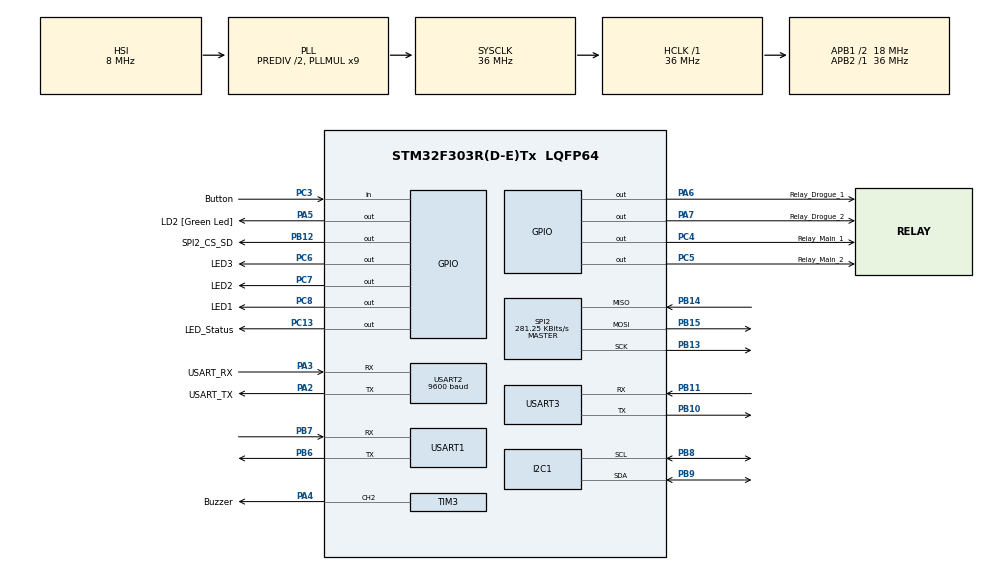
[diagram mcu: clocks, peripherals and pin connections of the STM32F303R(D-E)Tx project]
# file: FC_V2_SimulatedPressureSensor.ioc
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Mcu.Family=STM32F3
PA2.GPIO_PuPd=GPIO_NOPULL
RCC.CortexFreq_Value=36000000
SPI2.VirtualType=VM_MASTER
PB10.Mode=Asynchronous
RCC.SYSCLKSourceVirtual=RCC_SYSCLKSOURCE_PLLCLK
PA3.GPIO_PuPd=GPIO_NOPULL
PA2.GPIO_Speed=GPIO_SPEED_FREQ_LOW
PC6.GPIO_Label=LED3
VP_RTC_VS_RTC_Activate.Mode=RTC_Enabled
PA6.GPIO_Label=Relay_Drogue_1
PC13.GPIO_Label=LED_Status
PA3.GPIO_Speed=GPIO_SPEED_FREQ_LOW
PB11.Signal=USART3_RX
PB13.Signal=SPI2_SCK
PB15.Signal=SPI2_MOSI
ProjectManager.StackSize=0x400
USART3.VirtualMode-Asynchronous=VM_ASYNC
RCC.HCLKFreq_Value=36000000
RCC.APB2TimFreq_Value=36000000
TIM3.Period=163
PB6.Signal=USART1_TX
PC7.Signal=GPIO_Output
PB6.Mode=Asynchronous
PC3.Signal=GPIO_Input
RCC.AHBFreq_Value=36000000
SPI2.BaudRatePrescaler=SPI_BAUDRATEPRESCALER_64
RCC.HSE_VALUE=16000000
PB3.Mode=Trace_Asynchronous_SW
USART2.VirtualMode-Asynchronous=VM_ASYNC
RCC.RCC_PLLsource_Clock_Source_FROM_HSE=RCC_HSE_PREDIV_DIV2
RCC.PLLMUL=RCC_PLL_MUL9
PB12.GPIO_Label=SPI2_CS_SD
PC14-OSC32_IN.Mode=LSE-External-Oscillator
PC4.GPIO_Label=Relay_Main_1
PA14.Mode=Trace_Asynchronous_SW
PB14.Mode=Full_Duplex_Master
TIM3.Prescaler=999
PA5.GPIO_PuPd=GPIO_NOPULL
NVIC.TIM2_IRQn=true\:0\:0\:false\:false\:true\:true\:true
SPI2.CalculateBaudRate=281.25 KBits/s
PB7.Signal=USART1_RX
Mcu.Package=LQFP64
PB9.Signal=I2C1_SDA
TIM2.Prescaler=7199
PA6.Signal=GPIO_Output
SPI2.Mode=SPI_MODE_MASTER
PA2.GPIO_Label=USART_TX
RCC.APB1TimFreq_Value=36000000
TIM3.Pulse-PWM\ Generation2\ CH2=82
SPI2.Direction=SPI_DIRECTION_2LINES
PC5.Signal=GPIO_Output
PB13.Mode=Full_Duplex_Master
PA4.GPIO_Label=Buzzer
VP_TIM3_VS_ClockSourceINT.Mode=Internal
PA3.Signal=USART2_RX
PA2.GPIO_Mode=GPIO_MODE_AF_PP
PC15-OSC32_OUT.Mode=LSE-External-Oscillator
PC13.Signal=GPIO_Output
PC8.Signal=GPIO_Output
PC4.Signal=GPIO_Output
PC6.Signal=GPIO_Output
RCC.APB1CLKDivider=RCC_HCLK_DIV2
PC14-OSC32_IN.Signal=RCC_OSC32_IN
USART2.BaudRate=9600
PC8.GPIO_Label=LED1
USART1.VirtualMode-Asynchronous=VM_ASYNC
PA3.Mode=Asynchronous
PA13.Signal=SYS_JTMS-SWDIO
PB11.Mode=Asynchronous
ProjectManager.TargetToolchain=STM32CubeIDE
PA3.GPIO_Mode=GPIO_MODE_AF_PP
PB9.Mode=I2C
RCC.PLLDivider=RCC_PREDIV_DIV2
RCC.USBFreq_Value=24000000
PC15-OSC32_OUT.Signal=RCC_OSC32_OUT
PF0-OSC_IN.Mode=HSE-External-Clock-Source
VP_FATFS_VS_Generic.Mode=User_defined
PB10.Signal=USART3_TX
PB14.Signal=SPI2_MISO
PA5.Signal=GPIO_Output
SH.S_TIM3_CH2.0=TIM3_CH2,PWM Generation2 CH2
board=NUCLEO-F303RE
PB15.Mode=Full_Duplex_Master
RCC.APB2Freq_Value=36000000
RCC.PRESCALERUSB=RCC_USBCLKSOURCE_PLL_DIV1_5
VP_TIM2_VS_ClockSourceINT.Mode=Internal
TIM2.Period=999
PA13.Mode=Trace_Asynchronous_SW
Mcu.Name=STM32F303R(D-E)Tx
PA2.Signal=USART2_TX
PC7.GPIO_Label=LED2
PB3.Signal=SYS_JTDO-TRACESWO
PA4.Signal=S_TIM3_CH2
RCC.SYSCLKFreq_VALUE=36000000
PA7.GPIO_Label=Relay_Drogue_2
PA5.GPIO_Label=LD2 [Green Led]
PC5.GPIO_Label=Relay_Main_2
PB7.Mode=Asynchronous
PA14.Signal=SYS_JTCK-SWCLK
ProjectManager.HeapSize=0x600
RCC.HSI_VALUE=8000000
RCC.PLLP=RCC_PLLP_DIV4
PA5.GPIO_Speed=GPIO_SPEED_FREQ_LOW
RCC.PLLQ=7
NVIC.PriorityGroup=NVIC_PRIORITYGROUP_0
TIM3.Channel-PWM\ Generation2\ CH2=TIM_CHANNEL_2
RCC.PLLM=8
PB8.Mode=I2C
RCC.PLLN=336
PA2.Mode=Asynchronous
PB8.Signal=I2C1_SCL
PC3.GPIO_Label=Button
SPI2.DataSize=SPI_DATASIZE_8BIT
PF0-OSC_IN.Signal=RCC_OSC_IN
RCC.APB1Freq_Value=18000000
PA5.GPIO_Mode=GPIO_MODE_OUTPUT_PP
PB12.Signal=GPIO_Output
PA3.GPIO_Label=USART_RX
PA7.Signal=GPIO_Output

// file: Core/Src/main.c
/* USER CODE BEGIN Header */
/**
  ******************************************************************************
  * @file           : main.c
  * @brief          : Main program body
  ******************************************************************************
  * @attention
  *
  * <h2><center>&copy; Copyright (c) 2021 STMicroelectronics.
  * All rights reserved.</center></h2>
  *
  * This software component is licensed by ST under BSD 3-Clause license,
  * the "License"; You may not use this file except in compliance with the
  * License. You may obtain a copy of the License at:
  *                        opensource.org/licenses/BSD-3-Clause
  *
  ******************************************************************************
  */
/* USER CODE END Header */
#include "main.h"
#include "fatfs.h"

/* USER CODE BEGIN Includes */
#include <stdio.h>
#include <string.h>
#include "lsm6dsr_reg.h"
#include "lps22hh_reg.h"
#include "ejection.h"
#include "gps.h"
/* USER CODE END Includes */

/* USER CODE BEGIN PD */

// ---------- COMMENT THESE OUT AS NEEDED ---------- //
#define		DEBUG_MODE
//#define		CONFIG_TIME
//#define		TRANSMIT_RADIO
#define 	SIM_PRESSURE_SENSOR
// ------------------------------------------------- //

/* USER CODE END PD */

I2C_HandleTypeDef hi2c1;

RTC_HandleTypeDef hrtc;

SPI_HandleTypeDef hspi2;

TIM_HandleTypeDef htim2;
TIM_HandleTypeDef htim3;

UART_HandleTypeDef huart1;
UART_HandleTypeDef huart2;
UART_HandleTypeDef huart3;

/* USER CODE BEGIN PV */

// Transmission buffer
static uint8_t tx_buffer[TX_BUF_DIM];
#ifdef DEBUG_MODE
static uint8_t msg[1000];
#endif

// Ejection Variables
float alt_meas;
float alt_ground = 0;
float t_previous_loop, t_previous_buzz;
float average_gradient;

uint8_t apogee_reached = 0;
uint8_t launched = 0;
uint8_t main_deployed = 0;

uint8_t readingLps = 0;

long time11;
long time12;
long time21;
long time22;

// Telemetry Variables
uint8_t telemetry_counter = 0;
//float real_altitude;
//uint8_t relay_check_drogue1;
//uint8_t relay_check_drogue2;
//uint8_t relay_check_main1;
//uint8_t relay_check_main2;
stmdev_ctx_t dev_ctx_lsm;
stmdev_ctx_t dev_ctx_lps;
uint16_t transmit_delay_time = 1000;	// After landing, transmit every second (change this)

// Variables to store converted sensor data
float acceleration[] = {0, 0, 0};
float angular_rate[]= {0, 0, 0};
float pressure = 0;
float temperature = 0;
float latitude;
float longitude;
float time;

// RTC date and time structures
RTC_DateTypeDef sdatestructureget;
RTC_TimeTypeDef stimestructureget;

// Timer variable
volatile uint8_t currTask = 0;

// SD card FatFS variables
FATFS FatFs; 	//Fatfs handle, may need to be static
FIL fil; 		//File handle
FRESULT fres; 	//Result after operations

/* USER CODE END PV */

void SystemClock_Config(void);
static void MX_GPIO_Init(void);
static void MX_USART2_UART_Init(void);
static void MX_I2C1_Init(void);
static void MX_RTC_Init(void);
static void MX_USART1_UART_Init(void);
static void MX_TIM2_Init(void);
static void MX_TIM3_Init(void);
static void MX_USART3_UART_Init(void);
static void MX_SPI2_Init(void);
/* USER CODE BEGIN PFP */

// LSM6DSR functions
extern stmdev_ctx_t lsm6dsr_init(void);
extern void get_acceleration(stmdev_ctx_t dev_ctx, float *acceleration_mg);
extern void get_angvelocity(stmdev_ctx_t dev_ctx, float *angular_rate_mdps);

// LPS22HH functions
#ifdef SIM_PRESSURE_SENSOR
  extern void get_pressure(float *pressure);
  extern void get_temperature(float *temperature);
#else
  extern stmdev_ctx_t lps22hh_init(void);
  extern void get_pressure(stmdev_ctx_t dev_ctx,  float *pressure);
  extern void get_temperature(stmdev_ctx_t dev_ctx,  float *temperature);
#endif

// GPS functions
void GPS_Poll(float*, float*, float*);

// Convert pressure to altitude function
uint32_t getAltitude();

// SD initialization with new file and initial write
FRESULT sd_init();

// save data to sd card
FRESULT sd_save(float pressure, float temperature, float accelx,
		float magx, float latitude, float longitude, float gpsTime);

/* USER CODE END PFP */

int main(void)
{

  /* MCU Configuration--------------------------------------------------------*/

  /* Reset of all peripherals, Initializes the Flash interface and the Systick. */
  HAL_Init();

  /* Configure the system clock */
  SystemClock_Config();

  /* Initialize all configured peripherals */
  MX_GPIO_Init();
  MX_USART2_UART_Init();
  MX_I2C1_Init();
  MX_RTC_Init();
  MX_USART1_UART_Init();
  MX_TIM2_Init();
  MX_TIM3_Init();
  MX_USART3_UART_Init();
  MX_SPI2_Init();
  MX_FATFS_Init();
  /* USER CODE BEGIN 2 */

  // INDICATE TO SCRIPT TO START READING ALTITUDE VALUES FROM CSV
#ifdef SIM_PRESSURE_SENSOR
  sprintf((char *)msg, "---------- TELL SCRIPT TO START ----------\n");
  HAL_UART_Transmit(&huart3, msg, strlen((char const *)msg), 1000);

  sprintf((char *)msg, "S\n"); // transmit s to start
  HAL_UART_Transmit(&huart3, msg, strlen((char const *)msg), 1000);
#endif

  // Reset GPIOs
  HAL_GPIO_WritePin(LED_Status_GPIO_Port, LED_Status_Pin, GPIO_PIN_RESET);
  HAL_GPIO_WritePin(LED1_GPIO_Port, LED_Status_Pin, GPIO_PIN_RESET);
  HAL_GPIO_WritePin(Relay_Drogue_1_GPIO_Port, Relay_Drogue_1_Pin, GPIO_PIN_RESET);
  HAL_GPIO_WritePin(Relay_Drogue_2_GPIO_Port, Relay_Drogue_2_Pin, GPIO_PIN_RESET);
  HAL_GPIO_WritePin(Relay_Main_1_GPIO_Port, Relay_Main_1_Pin, GPIO_PIN_RESET);
  HAL_GPIO_WritePin(Relay_Main_2_GPIO_Port, Relay_Main_2_Pin, GPIO_PIN_RESET);

  // Initialize sensors
  // TODO: Add check mechanism (eg. if dev_ctx_lps return an error, sound the buzzer. Else, do smth)
#ifndef SIM_PRESSURE_SENSOR
  dev_ctx_lsm = lsm6dsr_init();
  dev_ctx_lps = lps22hh_init();
#endif

  // Get initial sensor values
  get_acceleration(dev_ctx_lsm, acceleration);
  get_angvelocity(dev_ctx_lsm, angular_rate);
  GPS_Poll(&latitude, &longitude, &time);
#ifndef SIM_PRESSURE_SENSOR
  get_pressure(dev_ctx_lps, &pressure);
  get_temperature(dev_ctx_lps,  &temperature);
#else
  get_pressure(&pressure);
  get_temperature(&temperature);
#endif

#ifdef DEBUG_MODE
      sprintf((char *)msg, "---------- INITIALIZED ALL SENSORS ----------\n");
      HAL_UART_Transmit(&huart3, msg, strlen((char const *)msg), 1000);
      HAL_Delay(1000);
#endif

  // Start timer
  HAL_TIM_Base_Start_IT(&htim2);

  // Start buzzer
  HAL_TIM_PWM_Start(&htim3, TIM_CHANNEL_2);

#ifdef DEBUG_MODE
  HAL_Delay(5000);		// Turning off buzzer in debug mode because it really b annoying
  HAL_TIM_PWM_Stop(&htim3, TIM_CHANNEL_2);
#endif

  // initialize SD card and open file to begin writing
  fres = sd_init();
  if (fres != FR_OK)
  {
	  // TODO: do some error handling, @jennie idk how you want to do this
  }

  // ---------- START OF EJECTION CODE ----------
  uint32_t altitude = 0;
  uint32_t alt_filtered = 0;
//  uint32_t currTick;

  // ---------- Get ground-level pressure and set as bias ----------
  for (uint16_t i = 0; i < ALT_MEAS_AVGING; i++){
      altitude = getAltitude();
      alt_ground += altitude;
  }
  alt_ground = alt_ground/ALT_MEAS_AVGING; 			// Average of altitude readings

#ifdef DEBUG_MODE
  sprintf((char *)msg, "---------- AVERAGE OF ALT READINGS: %hu ft. NOW WAITING FOR LAUNCH ----------\n", (uint16_t)alt_ground);
  HAL_UART_Transmit(&huart3, msg, strlen((char const *)msg), 1000);
#endif

  // ---------- Waiting for launch ----------
  // TODO: Replace 150 by the actual value
  while(alt_filtered < 150){							// Waiting to launch
	  altitude = getAltitude();
      alt_filtered = runAltitudeMeasurements(HAL_GetTick(), altitude);
#ifdef DEBUG_MODE
      sprintf((char *)msg, "Filtered Alt =  %hu\n\n", (uint16_t)alt_filtered);
      HAL_UART_Transmit(&huart3, msg, strlen((char const *)msg), 1000);
      HAL_Delay(1000);
#else
      HAL_Delay(50);
#endif

  }

  // ---------- Launched -> Wait for apogee ----------
#ifdef DEBUG_MODE
  sprintf((char *)msg, "---------- LAUNCHED ----------\n");
  HAL_UART_Transmit(&huart3, msg, strlen((char const *)msg), 1000);
#endif

  while (getAverageVelocity() > -DROGUE_DEPLOYMENT_VEL || alt_filtered < THRESHOLD_ALTITUDE) // while moving up and hasn't reached threshold altitude yet
  {
	  altitude = getAltitude();
      alt_filtered = runAltitudeMeasurements(HAL_GetTick(), altitude);
      HAL_Delay(5);
  }

  // ---------- At apogee -> Deploy drogue ----------
#ifdef DEBUG_MODE
  sprintf((char *)msg, "---------- AT APOGEE - DEPLOYING DROGUE AT %hu ft ----------\n", (uint16_t)altitude);
  HAL_UART_Transmit(&huart3, msg, strlen((char const *)msg), 1000);
#endif

  HAL_GPIO_WritePin(Relay_Drogue_1_GPIO_Port, Relay_Drogue_1_Pin, GPIO_PIN_SET);
  HAL_GPIO_WritePin(Relay_Drogue_2_GPIO_Port, Relay_Drogue_2_Pin, GPIO_PIN_SET);
  HAL_Delay(DROGUE_DELAY);
  HAL_GPIO_WritePin(Relay_Drogue_1_GPIO_Port, Relay_Drogue_1_Pin, GPIO_PIN_RESET);
  HAL_GPIO_WritePin(Relay_Drogue_2_GPIO_Port, Relay_Drogue_2_Pin, GPIO_PIN_RESET);

  // ---------- Wait for main deployment altitude ----------
  while (alt_filtered > MAIN_DEPLOYMENT){
	  altitude = getAltitude();
      alt_filtered = runAltitudeMeasurements(HAL_GetTick(), altitude);
      HAL_Delay(5);
  }

  // ---------- At main deployment altitude -> Deploy main ----------
#ifdef DEBUG_MODE
  sprintf((char *)msg, "---------- DEPLOYING MAIN AT %hu ft ----------\n", (uint16_t)altitude);
  HAL_UART_Transmit(&huart3, msg, strlen((char const *)msg), 1000);
#endif

  HAL_GPIO_WritePin(Relay_Main_1_GPIO_Port, Relay_Main_1_Pin, GPIO_PIN_SET);
  HAL_GPIO_WritePin(Relay_Main_2_GPIO_Port, Relay_Main_2_Pin, GPIO_PIN_SET);
  HAL_Delay(MAIN_DELAY);
  HAL_GPIO_WritePin(Relay_Main_1_GPIO_Port, Relay_Main_1_Pin, GPIO_PIN_RESET);
  HAL_GPIO_WritePin(Relay_Main_2_GPIO_Port, Relay_Main_2_Pin, GPIO_PIN_RESET);

  // ---------- END OF EJECTION CODE ----------
#ifdef DEBUG_MODE
  sprintf((char *)msg, "---------- EXITING EJECTION ----------\n");
  HAL_UART_Transmit(&huart3, msg, strlen((char const *)msg), 1000);
#endif

  // Stop the timer from interrupting and enter while loop
  HAL_TIM_Base_Stop_IT(&htim2);

  /* USER CODE END 2 */

  /* Infinite loop */
  /* USER CODE BEGIN WHILE */
  while (1)
  {
	HAL_RTC_GetDate(&hrtc, &sdatestructureget, RTC_FORMAT_BIN);
	HAL_RTC_GetTime(&hrtc, &stimestructureget, RTC_FORMAT_BIN);

#ifndef SIM_PRESSURE_SENSOR
	get_pressure(dev_ctx_lps, &pressure);
	get_temperature(dev_ctx_lps,  &temperature);
#else
	get_pressure(&pressure);
	get_temperature(&temperature);
#endif

	get_acceleration(dev_ctx_lsm, acceleration);
	get_angvelocity(dev_ctx_lsm, angular_rate);
	GPS_Poll(&latitude, &longitude, &time);
	fres = sd_save(pressure, temperature, acceleration[0], angular_rate[0], latitude, longitude, time);
	// TODO: can add handling if fres != FR_OK for sd_save
#ifndef DEBUG_MODE
	// Transmit via radio
	// TODO: Replace with RnD radio
	HAL_UART_Transmit(&huart1, tx_buffer, strlen((char const *)tx_buffer), 1000);
#else
	HAL_UART_Transmit(&huart3, tx_buffer, strlen((char const *)tx_buffer), 1000);
#endif

	HAL_Delay(transmit_delay_time);
    /* USER CODE END WHILE */

  }
}

void SystemClock_Config(void)
{
  RCC_OscInitTypeDef RCC_OscInitStruct = {0};
  RCC_ClkInitTypeDef RCC_ClkInitStruct = {0};
  RCC_PeriphCLKInitTypeDef PeriphClkInit = {0};

  /** Initializes the RCC Oscillators according to the specified parameters
  * in the RCC_OscInitTypeDef structure.
  */
  RCC_OscInitStruct.OscillatorType = RCC_OSCILLATORTYPE_HSI|RCC_OSCILLATORTYPE_LSI;
  RCC_OscInitStruct.HSIState = RCC_HSI_ON;
  RCC_OscInitStruct.HSICalibrationValue = RCC_HSICALIBRATION_DEFAULT;
  RCC_OscInitStruct.LSIState = RCC_LSI_ON;
  RCC_OscInitStruct.PLL.PLLState = RCC_PLL_ON;
  RCC_OscInitStruct.PLL.PLLSource = RCC_PLLSOURCE_HSI;
  RCC_OscInitStruct.PLL.PLLMUL = RCC_PLL_MUL9;
  RCC_OscInitStruct.PLL.PREDIV = RCC_PREDIV_DIV2;
  if (HAL_RCC_OscConfig(&RCC_OscInitStruct) != HAL_OK)
  {
    Error_Handler();
  }
  /** Initializes the CPU, AHB and APB buses clocks
  */
  RCC_ClkInitStruct.ClockType = RCC_CLOCKTYPE_HCLK|RCC_CLOCKTYPE_SYSCLK
                              |RCC_CLOCKTYPE_PCLK1|RCC_CLOCKTYPE_PCLK2;
  RCC_ClkInitStruct.SYSCLKSource = RCC_SYSCLKSOURCE_PLLCLK;
  RCC_ClkInitStruct.AHBCLKDivider = RCC_SYSCLK_DIV1;
  RCC_ClkInitStruct.APB1CLKDivider = RCC_HCLK_DIV2;
  RCC_ClkInitStruct.APB2CLKDivider = RCC_HCLK_DIV1;

  if (HAL_RCC_ClockConfig(&RCC_ClkInitStruct, FLASH_LATENCY_1) != HAL_OK)
  {
    Error_Handler();
  }
  PeriphClkInit.PeriphClockSelection = RCC_PERIPHCLK_USART1|RCC_PERIPHCLK_USART2
                              |RCC_PERIPHCLK_USART3|RCC_PERIPHCLK_I2C1
                              |RCC_PERIPHCLK_RTC|RCC_PERIPHCLK_TIM2
                              |RCC_PERIPHCLK_TIM34;
  PeriphClkInit.Usart1ClockSelection = RCC_USART1CLKSOURCE_PCLK2;
  PeriphClkInit.Usart2ClockSelection = RCC_USART2CLKSOURCE_PCLK1;
  PeriphClkInit.Usart3ClockSelection = RCC_USART3CLKSOURCE_PCLK1;
  PeriphClkInit.I2c1ClockSelection = RCC_I2C1CLKSOURCE_HSI;
  PeriphClkInit.RTCClockSelection = RCC_RTCCLKSOURCE_LSI;
  PeriphClkInit.Tim2ClockSelection = RCC_TIM2CLK_HCLK;
  PeriphClkInit.Tim34ClockSelection = RCC_TIM34CLK_HCLK;
  if (HAL_RCCEx_PeriphCLKConfig(&PeriphClkInit) != HAL_OK)
  {
    Error_Handler();
  }
}

static void MX_I2C1_Init(void)
{

  hi2c1.Instance = I2C1;
  hi2c1.Init.Timing = 0x2000090E;
  hi2c1.Init.OwnAddress1 = 0;
  hi2c1.Init.AddressingMode = I2C_ADDRESSINGMODE_7BIT;
  hi2c1.Init.DualAddressMode = I2C_DUALADDRESS_DISABLE;
  hi2c1.Init.OwnAddress2 = 0;
  hi2c1.Init.OwnAddress2Masks = I2C_OA2_NOMASK;
  hi2c1.Init.GeneralCallMode = I2C_GENERALCALL_DISABLE;
  hi2c1.Init.NoStretchMode = I2C_NOSTRETCH_DISABLE;
  if (HAL_I2C_Init(&hi2c1) != HAL_OK)
  {
    Error_Handler();
  }
  /** Configure Analogue filter
  */
  if (HAL_I2CEx_ConfigAnalogFilter(&hi2c1, I2C_ANALOGFILTER_ENABLE) != HAL_OK)
  {
    Error_Handler();
  }
  /** Configure Digital filter
  */
  if (HAL_I2CEx_ConfigDigitalFilter(&hi2c1, 0) != HAL_OK)
  {
    Error_Handler();
  }

}

static void MX_RTC_Init(void)
{

  /** Initialize RTC Only
  */
  hrtc.Instance = RTC;
  hrtc.Init.HourFormat = RTC_HOURFORMAT_24;
  hrtc.Init.AsynchPrediv = 127;
  hrtc.Init.SynchPrediv = 255;
  hrtc.Init.OutPut = RTC_OUTPUT_DISABLE;
  hrtc.Init.OutPutPolarity = RTC_OUTPUT_POLARITY_HIGH;
  hrtc.Init.OutPutType = RTC_OUTPUT_TYPE_OPENDRAIN;
  if (HAL_RTC_Init(&hrtc) != HAL_OK)
  {
    Error_Handler();
  }
  /* USER CODE BEGIN RTC_Init 2 */

#ifdef CONFIG_TIME
  RTC_DateTypeDef sdatestructure;
  RTC_TimeTypeDef stimestructure;

  /*##-1- Configure the Date #################################################*/
  /* Set Date: Tuesday April 8th 2021 */
  sdatestructure.Year = 0x21;
  sdatestructure.Month = RTC_MONTH_APRIL;
  sdatestructure.Date = 0x08;
  sdatestructure.WeekDay = RTC_WEEKDAY_THURSDAY;

  if(HAL_RTC_SetDate(&hrtc,&sdatestructure,RTC_FORMAT_BCD) != HAL_OK)
  {
	  /* Initialization Error */
	  Error_Handler();
  }

  /*##-2- Configure the Time #################################################*/
  /* Set Time: 01:45:00 */
  stimestructure.Hours = 0x02;
  stimestructure.Minutes = 0x47;
  stimestructure.Seconds = 0x00;
  stimestructure.TimeFormat = RTC_HOURFORMAT12_AM;
  stimestructure.DayLightSaving = RTC_DAYLIGHTSAVING_NONE ;
  stimestructure.StoreOperation = RTC_STOREOPERATION_RESET;

  if (HAL_RTC_SetTime(&hrtc, &stimestructure, RTC_FORMAT_BCD) != HAL_OK)
  {
	  /* Initialization Error */
	  Error_Handler();
  }
#endif

  /* USER CODE END RTC_Init 2 */

}

static void MX_SPI2_Init(void)
{

  /* SPI2 parameter configuration*/
  hspi2.Instance = SPI2;
  hspi2.Init.Mode = SPI_MODE_MASTER;
  hspi2.Init.Direction = SPI_DIRECTION_2LINES;
  hspi2.Init.DataSize = SPI_DATASIZE_8BIT;
  hspi2.Init.CLKPolarity = SPI_POLARITY_LOW;
  hspi2.Init.CLKPhase = SPI_PHASE_1EDGE;
  hspi2.Init.NSS = SPI_NSS_SOFT;
  hspi2.Init.BaudRatePrescaler = SPI_BAUDRATEPRESCALER_64;
  hspi2.Init.FirstBit = SPI_FIRSTBIT_MSB;
  hspi2.Init.TIMode = SPI_TIMODE_DISABLE;
  hspi2.Init.CRCCalculation = SPI_CRCCALCULATION_DISABLE;
  hspi2.Init.CRCPolynomial = 7;
  hspi2.Init.CRCLength = SPI_CRC_LENGTH_DATASIZE;
  hspi2.Init.NSSPMode = SPI_NSS_PULSE_ENABLE;
  if (HAL_SPI_Init(&hspi2) != HAL_OK)
  {
    Error_Handler();
  }

}

static void MX_TIM2_Init(void)
{

  TIM_ClockConfigTypeDef sClockSourceConfig = {0};
  TIM_MasterConfigTypeDef sMasterConfig = {0};

  htim2.Instance = TIM2;
  htim2.Init.Prescaler = 7199;
  htim2.Init.CounterMode = TIM_COUNTERMODE_UP;
  htim2.Init.Period = 999;
  htim2.Init.ClockDivision = TIM_CLOCKDIVISION_DIV1;
  htim2.Init.AutoReloadPreload = TIM_AUTORELOAD_PRELOAD_DISABLE;
  if (HAL_TIM_Base_Init(&htim2) != HAL_OK)
  {
    Error_Handler();
  }
  sClockSourceConfig.ClockSource = TIM_CLOCKSOURCE_INTERNAL;
  if (HAL_TIM_ConfigClockSource(&htim2, &sClockSourceConfig) != HAL_OK)
  {
    Error_Handler();
  }
  sMasterConfig.MasterOutputTrigger = TIM_TRGO_RESET;
  sMasterConfig.MasterSlaveMode = TIM_MASTERSLAVEMODE_DISABLE;
  if (HAL_TIMEx_MasterConfigSynchronization(&htim2, &sMasterConfig) != HAL_OK)
  {
    Error_Handler();
  }

}

static void MX_TIM3_Init(void)
{

  TIM_ClockConfigTypeDef sClockSourceConfig = {0};
  TIM_MasterConfigTypeDef sMasterConfig = {0};
  TIM_OC_InitTypeDef sConfigOC = {0};

  htim3.Instance = TIM3;
  htim3.Init.Prescaler = 999;
  htim3.Init.CounterMode = TIM_COUNTERMODE_UP;
  htim3.Init.Period = 163;
  htim3.Init.ClockDivision = TIM_CLOCKDIVISION_DIV1;
  htim3.Init.AutoReloadPreload = TIM_AUTORELOAD_PRELOAD_DISABLE;
  if (HAL_TIM_Base_Init(&htim3) != HAL_OK)
  {
    Error_Handler();
  }
  sClockSourceConfig.ClockSource = TIM_CLOCKSOURCE_INTERNAL;
  if (HAL_TIM_ConfigClockSource(&htim3, &sClockSourceConfig) != HAL_OK)
  {
    Error_Handler();
  }
  if (HAL_TIM_PWM_Init(&htim3) != HAL_OK)
  {
    Error_Handler();
  }
  sMasterConfig.MasterOutputTrigger = TIM_TRGO_RESET;
  sMasterConfig.MasterSlaveMode = TIM_MASTERSLAVEMODE_DISABLE;
  if (HAL_TIMEx_MasterConfigSynchronization(&htim3, &sMasterConfig) != HAL_OK)
  {
    Error_Handler();
  }
  sConfigOC.OCMode = TIM_OCMODE_PWM1;
  sConfigOC.Pulse = 82;
  sConfigOC.OCPolarity = TIM_OCPOLARITY_HIGH;
  sConfigOC.OCFastMode = TIM_OCFAST_DISABLE;
  if (HAL_TIM_PWM_ConfigChannel(&htim3, &sConfigOC, TIM_CHANNEL_2) != HAL_OK)
  {
    Error_Handler();
  }
  HAL_TIM_MspPostInit(&htim3);

}

static void MX_USART1_UART_Init(void)
{

  huart1.Instance = USART1;
  huart1.Init.BaudRate = 38400;
  huart1.Init.WordLength = UART_WORDLENGTH_8B;
  huart1.Init.StopBits = UART_STOPBITS_1;
  huart1.Init.Parity = UART_PARITY_NONE;
  huart1.Init.Mode = UART_MODE_TX_RX;
  huart1.Init.HwFlowCtl = UART_HWCONTROL_NONE;
  huart1.Init.OverSampling = UART_OVERSAMPLING_16;
  huart1.Init.OneBitSampling = UART_ONE_BIT_SAMPLE_DISABLE;
  huart1.AdvancedInit.AdvFeatureInit = UART_ADVFEATURE_NO_INIT;
  if (HAL_UART_Init(&huart1) != HAL_OK)
  {
    Error_Handler();
  }

}

static void MX_USART2_UART_Init(void)
{

  huart2.Instance = USART2;
  huart2.Init.BaudRate = 9600;
  huart2.Init.WordLength = UART_WORDLENGTH_8B;
  huart2.Init.StopBits = UART_STOPBITS_1;
  huart2.Init.Parity = UART_PARITY_NONE;
  huart2.Init.Mode = UART_MODE_TX_RX;
  huart2.Init.HwFlowCtl = UART_HWCONTROL_NONE;
  huart2.Init.OverSampling = UART_OVERSAMPLING_16;
  huart2.Init.OneBitSampling = UART_ONE_BIT_SAMPLE_DISABLE;
  huart2.AdvancedInit.AdvFeatureInit = UART_ADVFEATURE_NO_INIT;
  if (HAL_UART_Init(&huart2) != HAL_OK)
  {
    Error_Handler();
  }

}

static void MX_USART3_UART_Init(void)
{

  huart3.Instance = USART3;
  huart3.Init.BaudRate = 38400;
  huart3.Init.WordLength = UART_WORDLENGTH_8B;
  huart3.Init.StopBits = UART_STOPBITS_1;
  huart3.Init.Parity = UART_PARITY_NONE;
  huart3.Init.Mode = UART_MODE_TX_RX;
  huart3.Init.HwFlowCtl = UART_HWCONTROL_NONE;
  huart3.Init.OverSampling = UART_OVERSAMPLING_16;
  huart3.Init.OneBitSampling = UART_ONE_BIT_SAMPLE_DISABLE;
  huart3.AdvancedInit.AdvFeatureInit = UART_ADVFEATURE_NO_INIT;
  if (HAL_UART_Init(&huart3) != HAL_OK)
  {
    Error_Handler();
  }

}

static void MX_GPIO_Init(void)
{
  GPIO_InitTypeDef GPIO_InitStruct = {0};

  /* GPIO Ports Clock Enable */
  __HAL_RCC_GPIOC_CLK_ENABLE();
  __HAL_RCC_GPIOF_CLK_ENABLE();
  __HAL_RCC_GPIOA_CLK_ENABLE();
  __HAL_RCC_GPIOB_CLK_ENABLE();

  /*Configure GPIO pin Output Level */
  HAL_GPIO_WritePin(GPIOC, LED_Status_Pin|Relay_Main_1_Pin|Relay_Main_2_Pin|LED3_Pin
                          |LED2_Pin|LED1_Pin, GPIO_PIN_RESET);

  /*Configure GPIO pin Output Level */
  HAL_GPIO_WritePin(GPIOA, LD2_Pin|Relay_Drogue_1_Pin|Relay_Drogue_2_Pin, GPIO_PIN_RESET);

  /*Configure GPIO pin Output Level */
  HAL_GPIO_WritePin(SPI2_CS_SD_GPIO_Port, SPI2_CS_SD_Pin, GPIO_PIN_RESET);

  /*Configure GPIO pins : LED_Status_Pin Relay_Main_1_Pin Relay_Main_2_Pin LED3_Pin
                           LED2_Pin LED1_Pin */
  GPIO_InitStruct.Pin = LED_Status_Pin|Relay_Main_1_Pin|Relay_Main_2_Pin|LED3_Pin
                          |LED2_Pin|LED1_Pin;
  GPIO_InitStruct.Mode = GPIO_MODE_OUTPUT_PP;
  GPIO_InitStruct.Pull = GPIO_NOPULL;
  GPIO_InitStruct.Speed = GPIO_SPEED_FREQ_LOW;
  HAL_GPIO_Init(GPIOC, &GPIO_InitStruct);

  /*Configure GPIO pin : Button_Pin */
  GPIO_InitStruct.Pin = Button_Pin;
  GPIO_InitStruct.Mode = GPIO_MODE_INPUT;
  GPIO_InitStruct.Pull = GPIO_NOPULL;
  HAL_GPIO_Init(Button_GPIO_Port, &GPIO_InitStruct);

  /*Configure GPIO pins : LD2_Pin Relay_Drogue_1_Pin Relay_Drogue_2_Pin */
  GPIO_InitStruct.Pin = LD2_Pin|Relay_Drogue_1_Pin|Relay_Drogue_2_Pin;
  GPIO_InitStruct.Mode = GPIO_MODE_OUTPUT_PP;
  GPIO_InitStruct.Pull = GPIO_NOPULL;
  GPIO_InitStruct.Speed = GPIO_SPEED_FREQ_LOW;
  HAL_GPIO_Init(GPIOA, &GPIO_InitStruct);

  /*Configure GPIO pin : SPI2_CS_SD_Pin */
  GPIO_InitStruct.Pin = SPI2_CS_SD_Pin;
  GPIO_InitStruct.Mode = GPIO_MODE_OUTPUT_PP;
  GPIO_InitStruct.Pull = GPIO_NOPULL;
  GPIO_InitStruct.Speed = GPIO_SPEED_FREQ_LOW;
  HAL_GPIO_Init(SPI2_CS_SD_GPIO_Port, &GPIO_InitStruct);

}

/* USER CODE BEGIN 4 */

// Function Definitions
// TODO: Move this to sensor_functions.c
uint32_t getAltitude(){
	readingLps = 1;
#ifndef SIM_PRESSURE_SENSOR
	get_pressure(dev_ctx_lps, &pressure);
#else
	get_pressure(&pressure);
#endif
	readingLps = 0;
	uint32_t altitude = 145442.1609 * (1.0 - pow(pressure/LOCAL_PRESSURE, 0.190266436));
	return altitude;
}

/*
 * performs initialization for sd card.
 * mounts the sd card, creates new file for data logging, and
 * writes row of headers for the data into the file.
 *
 * returns FR_OK if all operations complete without error.
 * otherwise returns FRESULT (not FR_OK) to indicate error occurred.
 *
 */
FRESULT sd_init() {
	//Open the file system
	FRESULT fres = f_mount(&FatFs, "", 1); // 1 = mount now
	if (fres != FR_OK) {
#ifdef DEBUG_MODE
		sprintf((char *)msg, "SD f_mount failed, fres = %i\n\n", fres);
		HAL_UART_Transmit(&huart3, msg, strlen((char const *)msg), 1000);
#endif
		HAL_GPIO_WritePin(LED1_GPIO_Port, LED1_Pin, GPIO_PIN_SET);
		return fres;
    }

	// get current date and time to create new file for data logging
	HAL_RTC_GetDate(&hrtc, &sdatestructureget, RTC_FORMAT_BIN);
	HAL_RTC_GetTime(&hrtc, &stimestructureget, RTC_FORMAT_BIN);

    char filename[35];
	sprintf(filename, "datalog_%hu%hu%hu_%hu%hu%hu.txt",
			(uint16_t) sdatestructureget.Year,  (uint16_t) sdatestructureget.Month, (uint16_t) sdatestructureget.Date,
	  	    (uint16_t) stimestructureget.Hours, (uint16_t) stimestructureget.Minutes, (uint16_t) stimestructureget.Seconds);
	fres = f_open(&fil, filename, FA_WRITE | FA_OPEN_ALWAYS);

	if (fres != FR_OK) {
#ifdef DEBUG_MODE
		sprintf((char *)msg, "SD file open failed, fres = %i\n\n", fres);
		HAL_UART_Transmit(&huart3, msg, strlen((char const *)msg), 1000);
#endif
		HAL_GPIO_WritePin(LED1_GPIO_Port, LED1_Pin, GPIO_PIN_SET);
	    return fres;
	  }

	  // write data headers (time, altitude, temp, etc.)
	char sdHeader[] = "Hour,Minute,Second,Temperature(C),Pressure(hPA),Accelx,Magx,Longitude,Latitude,Time(GPS)\n";
	UINT bytesWrote;
	fres = f_write(&fil, sdHeader, strlen(sdHeader), &bytesWrote);
	if(fres == FR_OK) {
#ifdef DEBUG_MODE
		printf((char *)msg, "SD header write successful, fres = %i\n\n", fres);
		HAL_UART_Transmit(&huart3, msg, strlen((char const *)msg), 1000);
#endif
	} else {
		HAL_GPIO_WritePin(LED1_GPIO_Port, LED1_Pin, GPIO_PIN_SET);
#ifdef DEBUG_MODE
		sprintf((char *)msg, "SD header write failed, fres = %i\n\n", fres);
		HAL_UART_Transmit(&huart3, msg, strlen((char const *)msg), 1000);
#endif
		return fres;
	}

	return fres; // if this line is reached then fres = FR_OK
}

FRESULT sd_save(float pressure, float temperature, float accelx,
		float magx, float latitude, float longitude, float gpsTime) {
	sprintf((char *) tx_buffer, "%hu,%hu,%hu,%f,%f,%f,%f,%.3f,%.3f,%.3f\n", (uint16_t)stimestructureget.Hours, (uint16_t)stimestructureget.Minutes, (uint16_t)stimestructureget.Seconds, temperature, pressure, accelx, magx, longitude, latitude, time);
	UINT bytesWrote;
	fres = f_write(&fil, (char *) tx_buffer, strlen((char *) tx_buffer), &bytesWrote);
	if (fres != FR_OK) {
#ifdef DEBUG_MODE
		printf((char *)msg, "SD data write failed, fres = %i, bytes written = %d\n\n", fres, bytesWrote);
		HAL_UART_Transmit(&huart3, msg, strlen((char const *)msg), 1000);
#else
		HAL_GPIO_WritePin(LED1_GPIO_Port, LED1_Pin, GPIO_PIN_SET);
#endif
	}
	return fres;
}
// Callbacks
void HAL_TIM_PeriodElapsedCallback(TIM_HandleTypeDef *htim){
	if (htim == &htim2){
		switch (currTask){
			case 0:
				// Date/Time
				HAL_RTC_GetTime(&hrtc, &stimestructureget, RTC_FORMAT_BIN);
				HAL_RTC_GetDate(&hrtc, &sdatestructureget, RTC_FORMAT_BIN);
				currTask++;
				break;
			case 1:
				// Pressure/Temp
				if (readingLps != 0){		// Yield to ejection if it has control of the LPS sensor
					break;
				}

#ifndef SIM_PRESSURE_SENSOR
				get_pressure(dev_ctx_lps, &pressure);
				get_temperature(dev_ctx_lps,  &temperature);
#else
				get_pressure(&pressure);
				get_temperature(&temperature);
#endif
				currTask++;
				break;
			case 2:
				// Acceleration/Ang Velocity
#ifndef SIM_PRESSURE_SENSOR // could remove this if testing with an lsm sensor while simulating pressure
				get_acceleration(dev_ctx_lsm, acceleration);
				get_angvelocity(dev_ctx_lsm, angular_rate);
				currTask++;
				break;
#else
				sprintf((char *)tx_buffer, "acceleration = nada, angvelocity = chacha\n");
				HAL_UART_Transmit(&huart1, tx_buffer, strlen((char const *)tx_buffer), 1000);
				currTask++;
#endif
			case 3:
				// GPS
#ifndef SIM_PRESSURE_SENSOR // maybe remove this ifndef?
				GPS_Poll(&latitude, &longitude, &time);
#endif
				currTask++;
				break;
			case 4:
				// Save to SD card
				fres = sd_save(pressure, temperature, acceleration[0], angular_rate[0], latitude, longitude, time);
				if (fres != FR_OK) {
#ifdef DEBUG_MODE
					printf((char *)msg, "SD data write failed, fres = %i\n\n", fres);
					HAL_UART_Transmit(&huart3, msg, strlen((char const *)msg), 1000);
#else
					HAL_GPIO_WritePin(LED1_GPIO_Port, LED1_Pin, GPIO_PIN_SET);
#endif
				}
				currTask++;
				break;
			default:
				// Transmit to radio
				sprintf((char *)tx_buffer, "TIME -- Hour:%hu\t\t Minute:%hu\t Second:%hu\nDATA -- Temperature:%hu\tPressure:%hu\tAccelx:%hu\tMagx:%hu\nGPS  -- Longitude:%.3f\tLatitude:%.3f\tTime:%.3f\n\n", (uint16_t)stimestructureget.Hours, (uint16_t)stimestructureget.Minutes, (uint16_t)stimestructureget.Seconds, (uint16_t)temperature, (uint16_t)pressure, (uint16_t)acceleration[0], (uint16_t)angular_rate[0], longitude, latitude, time);
#ifndef DEBUG_MODE
				HAL_UART_Transmit(&huart1, tx_buffer, strlen((char const *)tx_buffer ), 1000);
#else
				HAL_UART_Transmit(&huart3, tx_buffer, strlen((char const *)tx_buffer), 1000);
#endif
				currTask = 0;
				break;
		}
	}
}

/* USER CODE END 4 */

void Error_Handler(void)
{
  /* USER CODE BEGIN Error_Handler_Debug */
  /* User can add his own implementation to report the HAL error return state */
  HAL_GPIO_WritePin(LED_Status_GPIO_Port, LED_Status_Pin, GPIO_PIN_SET);
  __BKPT();
  /* USER CODE END Error_Handler_Debug */
}

/************************ (C) COPYRIGHT STMicroelectronics *****END OF FILE****/
